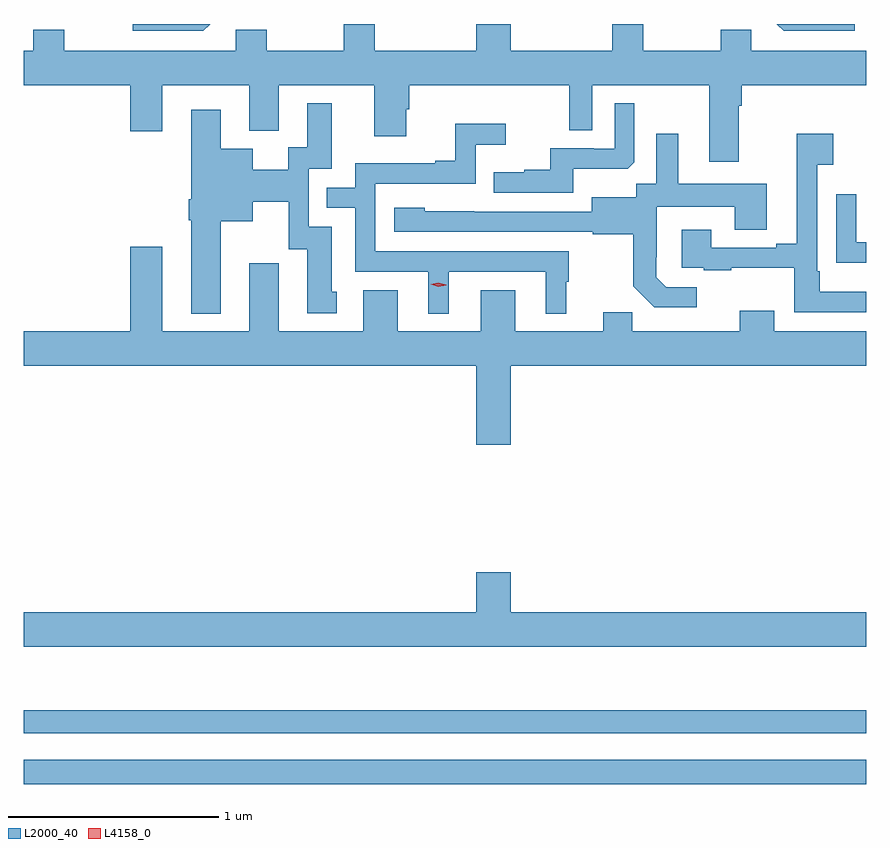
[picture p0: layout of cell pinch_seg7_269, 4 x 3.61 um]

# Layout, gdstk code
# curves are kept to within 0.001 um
import gdstk
lib = gdstk.Library(unit=1e-6, precision=1e-09)
def R(c, l, rs):  # rectangles x0, y0, x1, y1
    for r in rs: c.add(gdstk.rectangle(r[:2], r[2:], *l))
def P(c, l, *ps):  # polygons
    for p in ps: c.add(gdstk.Polygon(p, *l))
L2000_40 = (2000, 40)
L4158_0 = (4158, 0)

pinch_seg7_269 = lib.new_cell('pinch_seg7_269')
R(pinch_seg7_269, L2000_40, [(750.272,1047.916,754.272,1048.032), (750.272,1048.158,754.272,1048.267)])
P(pinch_seg7_269, L2000_40, [(751.157,1051.523),(750.789,1051.523),(750.789,1051.491),(751.125,1051.491)],
  [(753.667,1051.136),(753.68,1051.136),(753.68,1051.232),(754.272,1051.232),(754.272,1051.396),(753.726,1051.396),(753.726,1051.495),(753.58,1051.495),(753.58,1051.396),(753.213,1051.396),(753.213,1051.523),(753.065,1051.523),(753.065,1051.396),(752.584,1051.396),(752.584,1051.523),(752.42,1051.523),(752.42,1051.396),(751.939,1051.396),(751.939,1051.523),(751.792,1051.523),(751.792,1051.396),(751.425,1051.396),(751.425,1051.495),(751.278,1051.495),(751.278,1051.396),(750.465,1051.396),(750.465,1051.495),(750.317,1051.495),(750.317,1051.396),(750.272,1051.396),(750.272,1051.232),(750.779,1051.232),(750.779,1051.014),(750.931,1051.014),(750.931,1051.232),(751.343,1051.232),(751.343,1051.016),(751.483,1051.016),(751.483,1051.232),(751.937,1051.232),(751.937,1050.99),(752.089,1050.99),(752.089,1051.119),(752.102,1051.119),(752.102,1051.232),(752.862,1051.232),(752.862,1051.018),(752.97,1051.018),(752.97,1051.232),(753.527,1051.232),(753.527,1050.87),(753.667,1050.87)],
  [(754.216,1051.523),(753.847,1051.523),(753.879,1051.491),(754.216,1051.491)],
  [(752.881,1050.836),(753.139,1050.836),(753.171,1050.867),(753.171,1051.147),(753.078,1051.147),(753.078,1050.93),(752.978,1050.93),(752.978,1050.933),(752.771,1050.933),(752.771,1050.832),(752.647,1050.832),(752.647,1050.82),(752.503,1050.82),(752.503,1050.723),(752.881,1050.723)],
  [(751.207,1050.587),(751.36,1050.587),(751.36,1050.68),(751.53,1050.68),(751.53,1050.453),(751.619,1050.453),(751.619,1050.15),(751.759,1050.15),(751.759,1050.252),(751.735,1050.252),(751.735,1050.561),(751.626,1050.561),(751.626,1050.837),(751.735,1050.837),(751.735,1051.147),(751.619,1051.147),(751.619,1050.938),(751.529,1050.938),(751.529,1050.832),(751.36,1050.832),(751.36,1050.931),(751.207,1050.931),(751.207,1051.117),(751.067,1051.117),(751.067,1050.691),(751.055,1050.691),(751.055,1050.591),(751.067,1050.591),(751.067,1050.149),(751.207,1050.149)],
  [(752.29,1050.348),(752.75,1050.348),(752.75,1050.149),(752.848,1050.149),(752.848,1050.3),(752.86,1050.3),(752.86,1050.444),(751.941,1050.444),(751.941,1050.765),(752.418,1050.765),(752.418,1050.95),(752.56,1050.95),(752.56,1051.049),(752.32,1051.049),(752.32,1050.874),(752.225,1050.874),(752.225,1050.861),(751.845,1050.861),(751.845,1050.747),(751.711,1050.747),(751.711,1050.651),(751.845,1050.651),(751.845,1050.348),(752.192,1050.348),(752.192,1050.149),(752.29,1050.149)],
  [(753.466,1050.273),(753.321,1050.273),(753.274,1050.32),(753.274,1050.415),(753.276,1050.415),(753.276,1050.656),(753.647,1050.656),(753.647,1050.547),(753.799,1050.547),(753.799,1050.766),(753.379,1050.766),(753.379,1051.003),(753.275,1051.003),(753.275,1050.764),(753.18,1050.764),(753.18,1050.7),(752.969,1050.7),(752.969,1050.633),(752.175,1050.634),(752.175,1050.652),(752.031,1050.652),(752.031,1050.537),(752.973,1050.537),(752.973,1050.525),(753.165,1050.525),(753.165,1050.279),(753.265,1050.179),(753.466,1050.179)],
  [(754.272,1050.253),(754.051,1050.253),(754.051,1050.349),(754.038,1050.349),(754.038,1050.854),(754.114,1050.854),(754.114,1051.003),(753.941,1051.003),(753.941,1050.481),(753.845,1050.481),(753.845,1050.462),(753.535,1050.462),(753.535,1050.547),(753.395,1050.547),(753.395,1050.366),(753.499,1050.366),(753.499,1050.354),(753.631,1050.354),(753.631,1050.365),(753.93,1050.365),(753.93,1050.156),(754.272,1050.156)],
  [(754.272,1050.486),(754.224,1050.486),(754.224,1050.715),(754.128,1050.715),(754.128,1050.389),(754.272,1050.389)],
  [(752.584,1049.9),(754.272,1049.9),(754.272,1050.064),(753.835,1050.064),(753.835,1050.163),(753.671,1050.163),(753.671,1050.064),(753.161,1050.064),(753.161,1050.155),(753.023,1050.155),(753.023,1050.064),(752.605,1050.064),(752.605,1050.259),(752.441,1050.259),(752.441,1050.064),(752.047,1050.064),(752.047,1050.259),(751.883,1050.259),(751.883,1050.064),(751.483,1050.064),(751.483,1050.388),(751.343,1050.388),(751.343,1050.064),(750.931,1050.064),(750.931,1050.466),(750.779,1050.466),(750.779,1050.064),(750.272,1050.064),(750.272,1049.9),(752.42,1049.9),(752.42,1049.526),(752.584,1049.526)],
  [(754.272,1048.732),(752.584,1048.732),(752.584,1048.921),(752.42,1048.921),(752.42,1048.732),(750.272,1048.732),(750.272,1048.568),(754.272,1048.568)])
P(pinch_seg7_269, L4158_0, [(752.241,1050.276),(752.205,1050.287),(752.205,1050.287),(752.205,1050.287),(752.241,1050.296),(752.277,1050.285),(752.277,1050.284),(752.277,1050.284)])

lib.write_gds('pinch_seg7_269.gds')
